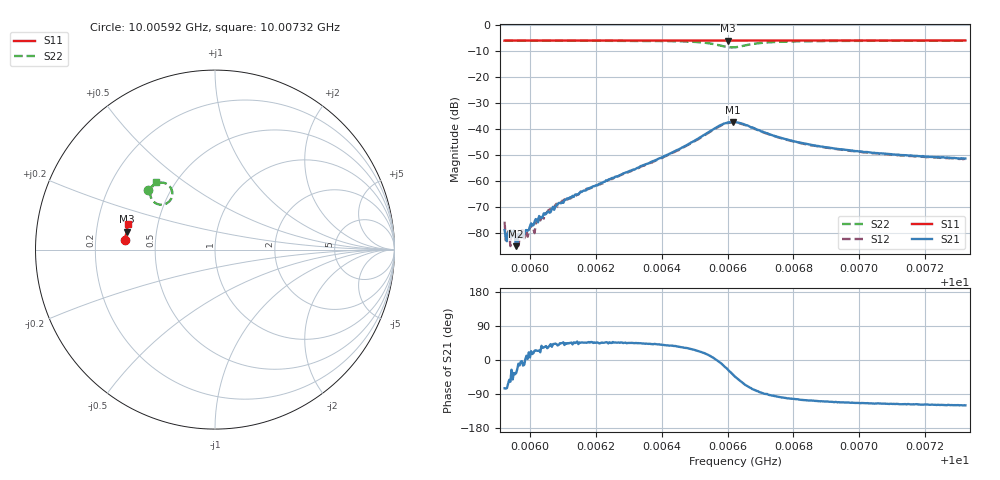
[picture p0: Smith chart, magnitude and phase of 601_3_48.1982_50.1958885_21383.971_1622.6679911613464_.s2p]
#  HZ  S  RI  R  50.00
! Rohde & Schwarz Vector Network Analyzer
! Rohde-Schwarz,ZNB20-2Port,1311601062101988,3.16
! Created: UTC 3/20/2024, 12:03:01 PM
! freq[Hz]  re:S11  im:S11  re:S21  im:S21  re:S12  im:S12  re:S22  im:S22
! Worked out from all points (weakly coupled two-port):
!   401 points, 10.00592 GHz to 10.00732 GHz, reference 50 ohm
!   highest |S21| = -37.34 dB at 10.00662 GHz (marker M1); lowest = -85.2 dB at 10.00596 GHz (marker M2)
!   lowest |S11| = -6.0 dB at 10.0066 GHz (marker M3), VSWR 3.02, Z = 16.7 + j4.44 ohm
!   |S11| at or under -10 dB: nowhere
!   |S22| runs from -8.6 to -6.0 dB; largest |S21 - S12| = 0.001
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1.0005923e10  -0.4993 0.0559  2.94e-05 -0.000108  6.23e-05 -0.00015  -0.372 0.3312
1.0005933e10  -0.4991 0.0566  4.38e-05 -8.63e-05  7.51e-05 -7.38e-05  -0.3714 0.332
1.0005958e10  -0.4991 0.0583  4.51e-05 -3.11e-05  6.27e-05 -4.86e-05  -0.37 0.3335
1.0005975e10  -0.4989 0.0594  8e-05 -4.45e-06  0.000111 5.21e-06  -0.3691 0.3346
1.0005989e10  -0.4988 0.0603  0.00011 2.21e-05  0.00011 1.21e-05  -0.3684 0.3356
1.0006017e10  -0.4986 0.0621  0.000164 7.93e-05  0.00014 4.29e-05  -0.3666 0.3373
1.0006024e10  -0.4986 0.0626  0.000143 6.44e-05  0.000135 0.000103  -0.3662 0.3378
1.0006038e10  -0.4986 0.0635  0.000172 0.000107  0.000154 0.000124  -0.3655 0.3387
1.0006059e10  -0.4983 0.0649  0.000191 0.000148  0.000211 0.000178  -0.3641 0.3402
1.0006087e10  -0.4982 0.0667  0.000285 0.00024  0.000227 0.00025  -0.3623 0.3422
1.0006157e10  -0.4977 0.0712  0.000421 0.00044  0.000407 0.000462  -0.3574 0.3472
1.0006392e10  -0.4957 0.0865  0.00201 0.00178  0.00189 0.00176  -0.3297 0.3669
1.0006532e10  -0.4937 0.0957  0.00747 0.00233  0.00715 0.00264  -0.2709 0.3664
1.0006577e10  -0.4927 0.0983  0.0116 -0.0013  0.0113 -0.000658  -0.239 0.3257
1.0006602e10  -0.4922 0.0994  0.0119 -0.00581  0.012 -0.00481  -0.2435 0.2845
1.0006616e10  -0.4924 0.1001  0.0107 -0.00842  0.011 -0.0075  -0.2598 0.2642
1.0006623e10  -0.4922 0.1003  0.00965 -0.00933  0.01 -0.00853  -0.2703 0.257
1.0006699e10  -0.4923 0.105  0.00074 -0.00913  0.00123 -0.009  -0.3526 0.2812
1.0006773e10  -0.4918 0.11  -0.00108 -0.00631  -0.000743 -0.00629  -0.3606 0.3156
1.0006857e10  -0.4909 0.1154  -0.00144 -0.00465  -0.00119 -0.00461  -0.3564 0.3358
1.0007091e10  -0.4874 0.1303  -0.00144 -0.00293  -0.00124 -0.00294  -0.3412 0.3625
1.0007322e10  -0.4838 0.1449  -0.00133 -0.00233  -0.00117 -0.00234  -0.3279 0.3782
